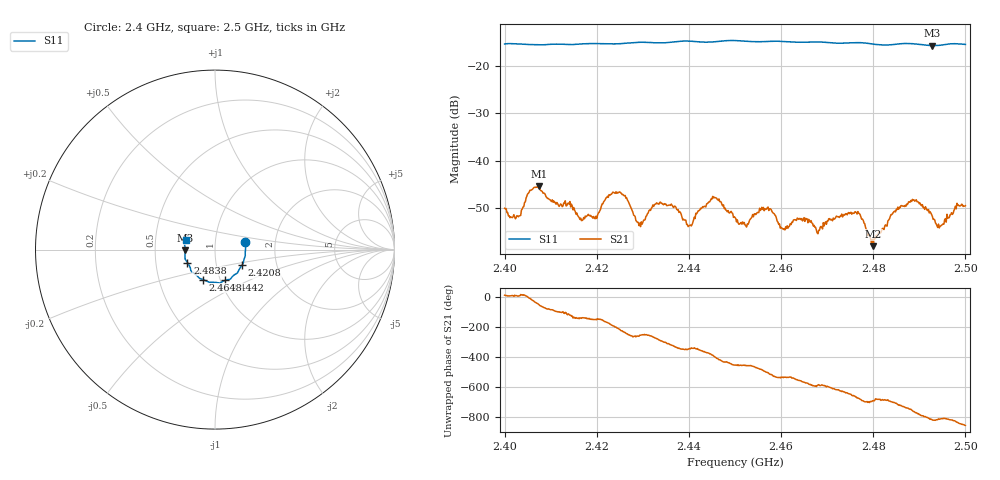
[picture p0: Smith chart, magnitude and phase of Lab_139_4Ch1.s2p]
# Hz S RI R 50
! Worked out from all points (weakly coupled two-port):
!   601 points, 2.4 GHz to 2.5 GHz, reference 50 ohm
!   highest |S21| = -45.45 dB at 2.4075 GHz (marker M1); lowest = -58.1 dB at 2.48 GHz (marker M2)
!   lowest |S11| = -15.6 dB at 2.4928 GHz (marker M3), VSWR 1.40, Z = 35.8 - j0.353 ohm
!   |S11| at or under -10 dB: start of sweep to end of sweep
!   S12 and S22 are empty: the file has one direction only
!   S11 on the Smith chart (normalised r, x): 2.4 GHz: 1.40, +0.12; 2.4208 GHz: 1.33, -0.24; 2.4442 GHz: 1.05, -0.37; 2.4648 GHz: 0.83, -0.29; 2.4838 GHz: 0.73, -0.11; 2.5 GHz: 0.72, +0.08
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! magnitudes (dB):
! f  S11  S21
! 2.4 GHz  -15.2  -50.1
! 2.4028 GHz  -15.2  -51.8
! 2.4075 GHz  -15.4  -45.4
! 2.4167 GHz  -15.2  -52.7
! 2.4208 GHz  -15.2  -50.3
! 2.4252 GHz  -15.2  -46.8
! 2.4295 GHz  -14.9  -54.0
! 2.4333 GHz  -15.0  -49.1
! 2.4402 GHz  -14.7  -53.7
! 2.4442 GHz  -14.9  -49.0
! 2.45 GHz  -14.5  -52.1
! 2.4567 GHz  -14.7  -50.3
! 2.4648 GHz  -14.9  -52.5
! 2.4667 GHz  -14.8  -53.2
! 2.4765 GHz  -15.0  -51.3
! 2.48 GHz  -15.3  -58.1
! 2.4833 GHz  -15.5  -52.6
! 2.4838 GHz  -15.4  -51.5
! 2.4888 GHz  -15.2  -48.3
! 2.4928 GHz  -15.6  -51.8
! 2.4945 GHz  -15.5  -54.0
! 2.5 GHz  -15.4  -49.6
